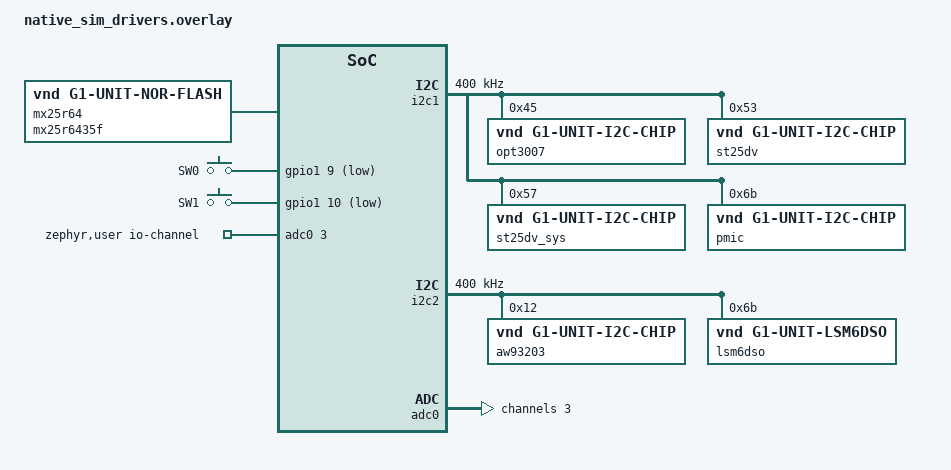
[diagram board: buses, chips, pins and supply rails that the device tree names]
/*
 * Driver suites (DRIVERS in tests/unit/CMakeLists.txt): the firmware's devicetree labels on
 * emulated hardware. A chip whose emulator the suite does not compile NAKs every transfer, a valid
 * "chip missing" setup. Not provided: uart0.
 */

#include <zephyr/dt-bindings/adc/adc.h>
#include <zephyr/dt-bindings/gpio/gpio.h>
#include <zephyr/dt-bindings/i2c/i2c.h>

/* the label moves to the emulated NOR flash below */
/delete-node/ &mx25r64;

/ {
  /* 32 MiB, as the lens' MX25U256 */
  mx25r64: mx25r6435f {
    compatible = "vnd,g1-unit-nor-flash";
    size = <0x2000000>;
  };

  gpio1: gpio@900 {
    compatible = "zephyr,gpio-emul";
    reg = <0x900 0x4>;
    rising-edge;
    falling-edge;
    high-level;
    low-level;
    gpio-controller;
    #gpio-cells = <2>;
    ngpios = <16>;
  };

  gpio_keys {
    compatible = "gpio-keys";
    sw0: sw0 {
      gpios = <&gpio1 9 (GPIO_ACTIVE_LOW | GPIO_PULL_UP)>;
      label = "SW0";
    };
    sw1: sw1 {
      gpios = <&gpio1 10 (GPIO_ACTIVE_LOW | GPIO_PULL_UP)>;
      label = "SW1";
    };
  };

  /* TWIM1 on the lens */
  i2c1: i2c@1100 {
    compatible = "zephyr,i2c-emul-controller";
    clock-frequency = <I2C_BITRATE_FAST>;
    #address-cells = <1>;
    #size-cells = <0>;
    reg = <0x1100 4>;

    opt3007: opt3001@45 {
      compatible = "vnd,g1-unit-i2c-chip";
      reg = <0x45>;
    };

    /* ST25DV04KC: 0x53 user / dynamic / mailbox, 0x57 system area */
    st25dv: st25dv@53 {
      compatible = "vnd,g1-unit-i2c-chip";
      reg = <0x53>;
    };
    st25dv_sys: st25dv@57 {
      compatible = "vnd,g1-unit-i2c-chip";
      reg = <0x57>;
    };

    /* nPM1300: the firmware goes through the MFD API, which drivers.h fakes */
    pmic: pmic@6b {
      compatible = "vnd,g1-unit-i2c-chip";
      reg = <0x6b>;

      /* devices.c gives the LDOs the regulator config the firmware reads */
      regulators {
        pmic_ldo1: LDO1 {
        };
        pmic_ldo2: LDO2 {
        };
      };

      /* reset-gpios omitted: no nPM1300 GPIO controller here */
      pmic_wdt: watchdog {
        compatible = "nordic,npm1300-wdt";
      };

      pmic_charger: charger {
        compatible = "vnd,g1-unit-charger";
        current-microamp = <40000>;
      };
    };
  };

  /* TWIM2 on the lens */
  i2c2: i2c@1200 {
    compatible = "zephyr,i2c-emul-controller";
    clock-frequency = <I2C_BITRATE_FAST>;
    #address-cells = <1>;
    #size-cells = <0>;
    reg = <0x1200 4>;

    /* INT drives sw0 */
    aw93203: aw93203@12 {
      compatible = "vnd,g1-unit-i2c-chip";
      reg = <0x12>;
    };

    lsm6dso: lsm6dso@6b {
      compatible = "vnd,g1-unit-lsm6dso";
      reg = <0x6b>;
    };
  };
};

/*
 * NFC field voltage. 0.6 V reference and gain 1/6 give 3.6 V full scale, as on the lens.
 * adc_emul_const_value_set(adc0, 3, mV) sets the pin.
 */
&adc0 {
  #address-cells = <1>;
  #size-cells = <0>;
  nchannels = <8>;
  ref-internal-mv = <600>;

  channel@3 {
    reg = <3>;
    zephyr,gain = "ADC_GAIN_1_6";
    zephyr,reference = "ADC_REF_INTERNAL";
    zephyr,acquisition-time = <ADC_ACQ_TIME_DEFAULT>;
    zephyr,resolution = <12>;
  };
};

/ {
  zephyr,user {
    io-channels = <&adc0 3>;
  };
};
